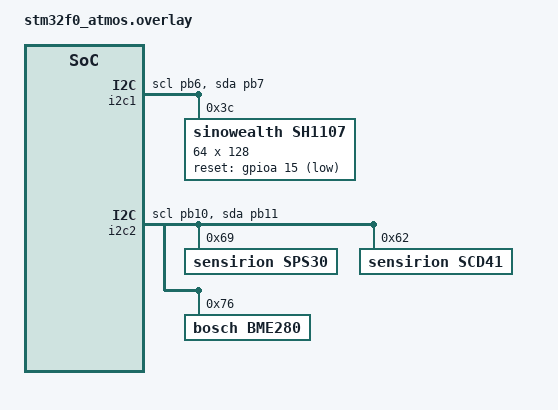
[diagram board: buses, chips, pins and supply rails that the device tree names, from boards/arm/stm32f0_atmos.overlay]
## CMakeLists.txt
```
cmake_minimum_required(VERSION 3.20.0)
find_package(Zephyr REQUIRED HINTS $ENV{ZEPHYR_BASE})
include(${ZEPHYR_BASE}/cmake/cfb.cmake NO_POLICY_SCOPE)
project(atmos)

target_sources(app PRIVATE
  src/main.c
  src/atmos_app.c
  src/i2c.c
  src/bme_sensor.c
  src/sgp_sensor.c
  src/scd41_sensor.c
  src/sps30_sensor.c
  src/display.c
  src/atmos_gpio.c
  src/test.c
)

target_include_directories(app PRIVATE ${CMAKE_CURRENT_SOURCE_DIR}/inc)
```

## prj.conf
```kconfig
CONFIG_GPIO=y
# Enable UART and console
CONFIG_SERIAL=y
CONFIG_CONSOLE=y
CONFIG_UART_CONSOLE=y
# Use USART1 as console
CONFIG_UART_ASYNC_API=n
# Enable I2C
CONFIG_I2C=y
CONFIG_SENSOR=y
CONFIG_DISPLAY=y
CONFIG_SH1107=y
CONFIG_SCD41=y
CONFIG_SPS30=y
CONFIG_SGP40=n
CONFIG_LOG=y
CONFIG_CFB_LOG_LEVEL_DBG=y
CONFIG_HEAP_MEM_POOL_SIZE=2048
CONFIG_CHARACTER_FRAMEBUFFER=y
CONFIG_CHARACTER_FRAMEBUFFER_USE_DEFAULT_FONTS=n
CONFIG_SENSOR_LOG_LEVEL_DBG=y
CONFIG_DISPLAY_LOG_LEVEL_DBG=y
```

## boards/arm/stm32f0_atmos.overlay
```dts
/ {
    chosen {
        zephyr,console = &usart1;
        zephyr,shell-uart = &usart1;
		    zephyr,display = &sh1107;
    };
    aliases {
        bme280 = &bme280;
        scd41 = &scd41;
        sh1107 = &sh1107;
    };
};

// &gpiof {status = "okay";};

&i2c1 {
  status = "okay";
  pinctrl-0 = <&i2c1_scl_pb6 &i2c1_sda_pb7>;
  pinctrl-names = "default";
  sh1107: sh1107@3c {
    compatible = "sinowealth,sh1107";
    status = "okay";
    reg = <0x3c>;
    width = <0x40>;
    height = <0x80>;
    segment-offset = <0x00>;
    display-offset = <0x60>;
    reset-gpios = <&gpioa 15 GPIO_ACTIVE_LOW>;
    multiplex-ratio = <0x3F>;
    prechargep = <0x22>;
    segment-remap;
    ready-time-ms = <0x0A>;
  };
};

&i2c2 {
    status = "okay";
    pinctrl-0 = <&i2c2_scl_pb10 &i2c2_sda_pb11>;
    pinctrl-names = "default";

//    sgp40: sgp40@59 {
//        compatible = "sensirion,sgp40";
//        label = "SGP40";
//        status = "disabled";
//  reg = <0x59>;
//        enable-selftest;
//    };

    sps30: sps30@69 {
      compatible = "sensirion,sps30";
      status = "okay";
      reg = <0x69>;
      measurement-output-format = <0x500>;
    };

    scd41: scd41@62 {
      compatible = "sensirion,scd41";
      status = "okay";
      reg = <0x62>;
    };

    bme280: bme280@76 {
        compatible = "bosch,bme280";
        reg = <0x76>;
        status = "okay";
    };
};
```

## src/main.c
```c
/*
 * Copyright (c) 2016 Intel Corporation
 *
 * SPDX-License-Identifier: Apache-2.0
 */

#include <stdint.h>
#include <zephyr/device.h>
#include <zephyr/devicetree.h>
#include <zephyr/drivers/gpio.h>
#include <zephyr/drivers/i2c.h>
#include <zephyr/drivers/sensor.h>
#include <zephyr/kernel.h>

#include "atmos_app.h"
#include <test.h>

int main(void) {
  // return run_test_i2c_detect();
  return run_atmos_app();
  //return run_test_gpio_input();
}
```

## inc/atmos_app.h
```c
#ifndef _ATMOS_APP_H_
#define _ATMOS_APP_H_


int run_atmos_app(void);


#endif // !_ATMOS_APP_H_
```

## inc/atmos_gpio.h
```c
#ifndef _ATMOS_GPIO_H_
#define _ATMOS_GPIO_H_
#include <errno.h>
#include <zephyr/drivers/gpio.h>

enum ATMOS_GPIO_OUTPUT {
  LED_GREEN,
  LED_BLUE
};

error_t gpio_init(void);
error_t gpio_toggle_output(enum ATMOS_GPIO_OUTPUT output);
#endif // !_ATMOS_GPIO_H_
//
```

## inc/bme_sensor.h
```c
#ifndef _BME_SENSOR_H_
#define _BME_SENSOR_H_

#include "zephyr/drivers/sensor.h"
#include <zephyr/device.h>
#include <zephyr/kernel.h>

struct bme280_data {
  struct sensor_value temp;
  struct sensor_value press;
  struct sensor_value humidity;
};

error_t init_bme280_device(void);
error_t get_bme280_data(struct bme280_data*);

#endif // !_BME_SENSOR_H_
```

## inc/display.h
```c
#ifndef _ATMOS_DISPLAY_H_
#define _ATMOS_DISPLAY_H_

#include "zephyr/drivers/sensor.h"
#include <errno.h>
#include <stdint.h>
#include <zephyr/types.h>

typedef enum curr_display_page {
  PAGE_A = 0, PAGE_B, PAGE_C
} curr_display_page_t;

error_t init_display_device(void);
error_t init_framebuffer(void);
error_t printd(char *str, uint8_t row);
error_t set_display_choice(curr_display_page_t page);
error_t get_display_choice(curr_display_page_t* page);
error_t display_render_page(void);
//error_t display_page_a(const struct sensor_value *pm1_0, const struct sensor_value* pm0_5,
//               const struct sensor_value* tps);
//error_t display_page_b(const struct sensor_value *voc, const struct sensor_value* pm10,
//               const struct sensor_value *pm4_0, const struct sensor_value* pm2_5);
error_t display_page_a(void);
error_t display_page_b(void);
error_t display_page_c(void);
error_t display_clear(void);
#endif // !_ATMOS_DISPLAY_H_
```

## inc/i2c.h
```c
#ifndef _ATMOS_I2C_H_
#define _ATMOS_I2C_H_

#include <zephyr/device.h>

int i2c1_devices_detect(void);
int i2c2_devices_detect(void);

#endif // _ATMOS_I2C_H_
```

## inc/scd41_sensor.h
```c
#ifndef _SCD41_SENSOR_H_
#define _SCD41_SENSOR_H_

#include "zephyr/drivers/sensor.h"
#include <errno.h>
#include <zephyr/device.h>

struct scd41_data {
  struct sensor_value co2_concentration;
  struct sensor_value temperature;
  struct sensor_value relative_humidity;
};

error_t init_scd41_device(void);
error_t update_scd41_pressure(const struct sensor_value* pressure);
error_t get_scd41_data(struct scd41_data*);
#endif // !_SCD41_SENSOR_H_
```

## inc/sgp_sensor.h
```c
#ifndef _SGP_SENSOR_H_
#define _SGP_SENSOR_H_

#include <zephyr/device.h>

const struct device *get_sgp40_device(void);
#endif // !_SGP_SENSOR_H_
```

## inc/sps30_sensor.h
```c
#ifndef _SPS30_SENSOR_H_
#define _SPS30_SENSOR_H_

#include "zephyr/drivers/sensor.h"
#include <errno.h>
#include <zephyr/device.h>


struct sps30_data {
  struct sensor_value mc_1p0;
  struct sensor_value mc_2p5;
  struct sensor_value mc_4p0;
  struct sensor_value mc_10p0;
  struct sensor_value nc_0p5;
  struct sensor_value nc_1p0;
  struct sensor_value nc_2p5;
  struct sensor_value nc_4p0;
  struct sensor_value nc_10p0;
  struct sensor_value typical_particle_size;
};

error_t init_sps30_device(void);
error_t get_sps30_data(struct sps30_data*);

#endif // !_SPS30_SENSOR_H_
```

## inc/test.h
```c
#ifndef _ATMOS_TEST_H_
#define _ATMOS_TEST_H_


int run_test_i2c_detect(void);
int run_test_gpio_input(void);


#endif // !_ATMOS_TEST_H_
```

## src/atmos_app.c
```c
#include "atmos_app.h"
#include "atmos_gpio.h"
#include "bme_sensor.h"
#include "display.h"
#include "scd41_sensor.h"
#include "atmos_app.h"
#include "sps30_sensor.h"
#include <stdint.h>
#include <zephyr/device.h>
#include <zephyr/devicetree.h>
#include <zephyr/drivers/gpio.h>
#include <zephyr/drivers/i2c.h>
#include <zephyr/drivers/sensor.h>
#include <zephyr/kernel.h>
#include <zephyr/types.h>

/* 1000 msec = 1 sec */
#define SLEEP_TIME_MS 5000
#define DEBOUNCE_DELAY_MS 50
/*every hour*/
#define SCD41_PRESS_UPDATE_PERIOD_SEC (60 * 60 * 1000)

int run_atmos_app(void) {
  int ret;

  ret = gpio_init();
  if (ret < 0) {
    return 0;
  }

  ret = init_display_device();
  if (ret < 0) {
    return 0;
  }

  ret = init_framebuffer();
  if (ret < 0) {
    return 0;
  }

  ret = init_bme280_device();
  if (ret < 0) {
    return 0;
  }

  ret = init_scd41_device();
  if (ret < 0) {
    return 0;
  }

  ret = init_sps30_device();
  if (ret < 0) {
    return 0;
  }

  // const struct device *sgp40_dev = get_sgp40_device();

  while (1) {
    ret = gpio_toggle_output(LED_GREEN);
    ret = display_render_page();
    k_msleep(SLEEP_TIME_MS);
  }
  return 0;
}
```

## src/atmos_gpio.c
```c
#include "atmos_gpio.h"
#include "display.h"
#include "zephyr/kernel.h"
#include "zephyr/sys/printk.h"
#include <zephyr/devicetree.h>

#define LED0_NODE DT_ALIAS(led0)
#define LED1_NODE DT_ALIAS(led1)
#define SW0_NODE DT_ALIAS(sw0)
#define DEBOUNCE_DELAY_MS 50

static const struct gpio_dt_spec led = GPIO_DT_SPEC_GET(LED0_NODE, gpios);
static const struct gpio_dt_spec led1 = GPIO_DT_SPEC_GET(LED1_NODE, gpios);
static const struct gpio_dt_spec sw0 = GPIO_DT_SPEC_GET(SW0_NODE, gpios);
static struct gpio_callback sw0_cb_data;

// Struct for holding the workqueue
static struct k_work_delayable button_work;

// Work handler: button pressed
static void button_work_handler(struct k_work *work) {
  int state;
  error_t error;
  // Read the state of the button (after the debounce delay)
  state = gpio_pin_get_dt(&sw0);
  if (state < 0) {
    printk("Error (%d): failed to read button pin\r\n", state);
  } else if (state) {
    curr_display_page_t page;
    error = get_display_choice(&page);
    if (error < 0) {
      printk("Error (%d): failed to read page choice\r\n", error);
    }
    error = set_display_choice(page == PAGE_C?PAGE_A: ++page);
    if (error < 0) {
      printk("Error (%d): failed to set page choice\r\n", error);
    }
    display_render_page();
  }
}

static void gpio_isr(const struct device *dev, struct gpio_callback *cb,
                     unsigned int pins) {
  k_work_reschedule(&button_work, K_MSEC(DEBOUNCE_DELAY_MS));
}

error_t gpio_init(void) {
  int ret;
  // Initialize work item
  k_work_init_delayable(&button_work, button_work_handler);
  // Make sure that the button was initialized
  if (!gpio_is_ready_dt(&sw0)) {
    printk("ERROR: button not ready\r\n");
    return 0;
  }

  ret = gpio_pin_configure_dt(&sw0, GPIO_INPUT);
  if (ret < 0) {
    printk("ERROR: Failed to configure button\r\n");
    return 0;
  }

  // Configure the interrupt
  ret = gpio_pin_interrupt_configure_dt(&sw0, GPIO_INT_EDGE_TO_ACTIVE);
  if (ret < 0) {
    printk("ERROR: could not configure button as interrupt source\r\n");
    return 0;
  }
  // Connect callback function (ISR) to interrupt source
  gpio_init_callback(&sw0_cb_data, gpio_isr, BIT(sw0.pin));
  gpio_add_callback(sw0.port, &sw0_cb_data);

  ret = gpio_pin_configure_dt(&led, GPIO_OUTPUT_ACTIVE);
  if (ret < 0) {
    printk("ERROR: Failed to configure led\r\n");
    return 0;
  }
  ret = gpio_pin_configure_dt(&led1, GPIO_OUTPUT_ACTIVE);
  if (ret < 0) {
    printk("ERROR: Failed to configure led\r\n");
    return 0;
  }
  return 0;
}

error_t gpio_toggle_output(enum ATMOS_GPIO_OUTPUT output) {
  int ret;
  switch (output) {
  case LED_GREEN:
    ret = gpio_pin_toggle_dt(&led);
    if (ret < 0) {
      return ret;
    }
    break;
  case LED_BLUE:
    ret = gpio_pin_toggle_dt(&led1);
    if (ret < 0) {
      return ret;
    }
    break;
  default:
    return 0;
  }
  return ret;
}
```

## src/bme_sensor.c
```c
#include "bme_sensor.h"
#include "zephyr/drivers/sensor.h"
#include "zephyr/sys/printk.h"
#include <errno.h>
#include <zephyr/device.h>

const struct device *bme280_dev = NULL;

error_t init_bme280_device(void) {
  bme280_dev = DEVICE_DT_GET_ANY(bosch_bme280);

  if (bme280_dev == NULL) {
    /* No such node, or the node does not have status "okay". */
    printk("\nError: no BME280 device found.\n");
    return ENODEV;
  }

  if (!device_is_ready(bme280_dev)) {
    printk("\nError: Device \"%s\" is not ready; "
           "check the driver initialization logs for errors.\n",
           bme280_dev->name);
    return EIO;
  }

  printk("Found device \"%s\"\n", bme280_dev->name);
  return 0;
}

error_t get_bme280_data(struct bme280_data *data) {
  if (data == NULL) {
    printf("%s: data parameter is NULL\n", __func__);
    return EINVAL;
  }
  sensor_sample_fetch(bme280_dev);
  sensor_channel_get(bme280_dev, SENSOR_CHAN_AMBIENT_TEMP, &data->temp);
  sensor_channel_get(bme280_dev, SENSOR_CHAN_PRESS, &data->press);
  sensor_channel_get(bme280_dev, SENSOR_CHAN_HUMIDITY, &data->humidity);
  printk("<BME280>\nTemperature [°C]: %d.%06d\nPressure [hPa]: %d.%06d "
         "\nHumidity [%%RH] : %d.%06d\n",
         data->temp.val1, data->temp.val2, data->press.val1, data->press.val2,
         data->humidity.val1, data->humidity.val2);
  return 0;
}
```
